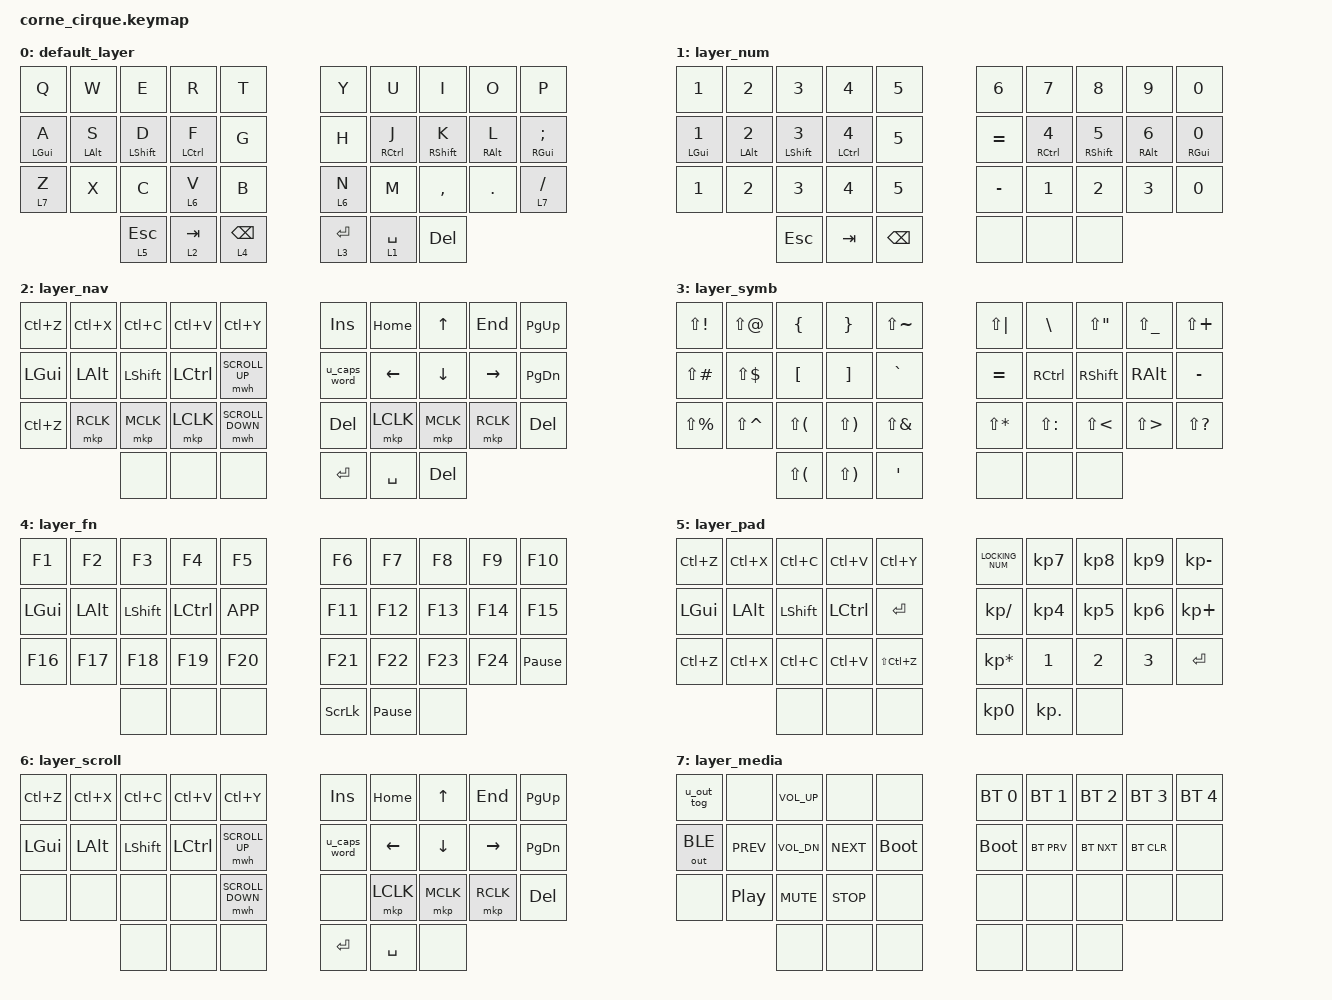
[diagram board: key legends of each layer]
#include <behaviors.dtsi>
#include <dt-bindings/zmk/keys.h>
#include <dt-bindings/zmk/bt.h>
#include <dt-bindings/zmk/outputs.h>
#include <dt-bindings/zmk/mouse.h>

/ {
    combos {
        compatible = "zmk,combos";

        combo_mb_lclick {
            timeout-ms = <50>;
            key-positions = <12 13>;
            bindings = <&mkp LCLK>;
        };

         combo_mb_rclick {
            timeout-ms = <50>;
            key-positions = <22 23>;
            bindings = <&mkp RCLK>;
        };

         combo_mb_mclick {
            timeout-ms = <50>;
            key-positions = <2 3>;
            bindings = <&mkp MCLK>;
        };
    };
    
    behaviors   {
        lkt: layer_key_tap {
            compatible = "zmk,behavior-hold-tap";
            label = "LAYER KEY TAP";
            #binding-cells = <2>;
            tapping-term-ms = <150>;
            flavor = "tap-preferred";
            bindings = <&mkp>, <&tog>;
        };
        u_mt: u_mt {
            compatible = "zmk,behavior-hold-tap";
            label = "U_MT";
            bindings =
                <&kp>,
                <&kp>;

            #binding-cells = <2>;
            tapping-term-ms = <200>;
            flavor = "tap-preferred";
        };
        u_lt: u_lt {
            compatible = "zmk,behavior-hold-tap";
            label = "U_LT";
            bindings =
                <&mo>,
                <&kp>;

            #binding-cells = <2>;
            tapping-term-ms = <200>;
            flavor = "tap-preferred";
        };
        u_out_tog: u_out_tog {
            compatible = "zmk,behavior-mod-morph";
            label = "U_OUT_TOG";
            bindings =
                <&out OUT_TOG>,
                <&out OUT_USB>;

            #binding-cells = <0>;
            mods = <(MOD_LSFT|MOD_RSFT)>;
        };
        u_caps_word: u_caps_word {
            compatible = "zmk,behavior-mod-morph";
            label = "U_CAPS_WORD";
            bindings =
                <&caps_word>,
                <&kp CAPS>;

            #binding-cells = <0>;
            mods = <(MOD_LSFT|MOD_RSFT)>;
        };
    };

    keymap {
        compatible = "zmk,keymap";

        // default_layer {
        //         // ROW A FROM SCHEMATIC FILE
        //         // ROW A FROM SCHEMATIC FILE
        //         // ROW A FROM SCHEMATIC FILE
        //     bindings = <
        //         /* &bt BT_NXT */
        //         /* &bt BT_CLR */
        //         /* &out    OUT_TOG */
        //         /* &mkp RCLK */
        //         &lkt RCLK SCROLL_LAYER
        //    >;
        // };

        // scroll_layer {  //called by trackpad code to switch to scroll mode
        //         // ROW A FROM SCHEMATIC FILE
        //         // ROW A FROM SCHEMATIC FILE
        //         // ROW A FROM SCHEMATIC FILE
        //     bindings = <
        //         &lkt RCLK SCROLL_LAYER
        //    >;
        // };

        default_layer {
            bindings = <
&kp Q         &kp W         &kp E          &kp R         &kp T          &kp Y          &kp U          &kp I          &kp O         &kp P
&u_mt LGUI A  &u_mt LALT S  &u_mt LSHFT D  &u_mt LCTRL F &kp G          &kp H          &u_mt RCTRL J  &u_mt RSHFT K  &u_mt RALT L  &u_mt RGUI SEMI
&u_lt 7 Z     &kp X         &kp C          &u_lt 6 V     &kp B          &u_lt 6 N      &kp M          &kp COMMA      &kp DOT       &u_lt 7 SLASH
                            &u_lt 5 ESC    &u_lt 2 TAB   &u_lt 4 BSPC   &u_lt 3 ENTER  &u_lt 1 SPACE  &kp DEL
            >;
        };

        layer_num {
            bindings = <
&kp NUMBER_1         &kp NUMBER_2         &kp NUMBER_3          &kp NUMBER_4           &kp NUMBER_5     &kp NUMBER_6   &kp NUMBER_7          &kp NUMBER_8          &kp NUMBER_9         &kp NUMBER_0
&u_mt LGUI NUMBER_1  &u_mt LALT NUMBER_2  &u_mt LSHFT NUMBER_3  &u_mt LCTRL NUMBER_4   &kp NUMBER_5     &kp EQUAL      &u_mt RCTRL NUMBER_4  &u_mt RSHFT NUMBER_5  &u_mt RALT NUMBER_6  &u_mt RGUI NUMBER_0
&kp NUMBER_1         &kp NUMBER_2         &kp NUMBER_3          &kp NUMBER_4           &kp NUMBER_5     &kp MINUS      &kp NUMBER_1          &kp NUMBER_2          &kp NUMBER_3         &kp NUMBER_0
                                          &kp ESC               &kp TAB                &kp BACKSPACE    &none          &none                 &none
            >;
        };

        layer_nav {
            bindings = <
&kp LC(Z)   &kp LC(X)   &kp LC(C)   &kp LC(V)   &kp LC(Y)           &kp INS         &kp HOME    &kp UP    &kp END    &kp PG_UP
&kp LGUI    &kp LALT    &kp LSHFT   &kp LCTRL   &mwh SCROLL_UP      &u_caps_word    &kp LEFT    &kp DOWN  &kp RIGHT  &kp PG_DN
&kp LC(Z)   &mkp RCLK   &mkp MCLK   &mkp LCLK   &mwh SCROLL_DOWN    &kp DEL         &mkp LCLK   &mkp MCLK &mkp RCLK  &kp DEL
                        &none       &none       &none               &kp RET         &kp SPACE   &kp DEL
            >;
        };
        layer_symb {
            bindings = <
&kp LS(EXCL)    &kp LS(AT)     &kp LEFT_BRACE   &kp RIGHT_BRACE  &kp LS(TILDE)  &kp LS(PIPE)  &kp BSLH      &kp LS(DQT)  &kp LS(UNDER)  &kp LS(PLUS)
&kp LS(POUND)   &kp LS(DLLR)   &kp LBKT         &kp RBKT         &kp GRAVE      &kp EQUAL     &kp RCTRL     &kp RSHFT    &kp RALT       &kp MINUS
&kp LS(PRCNT)   &kp LS(CARET)  &kp LS(LPAR)     &kp LS(RPAR)     &kp LS(AMPS)   &kp LS(STAR)  &kp LS(COLON) &kp LS(LT)   &kp LS(GT)     &kp LS(QMARK)
                               &kp LS(LPAR)     &kp LS(RPAR)     &kp SQT        &none         &none         &none
            >;
        };

        layer_fn {
            bindings = <
&kp F1    &kp F2    &kp F3     &kp F4     &kp F5    &kp F6    &kp F7          &kp F8   &kp F9   &kp F10
&kp LGUI  &kp LALT  &kp LSHFT  &kp LCTRL  &kp K_APP &kp F11   &kp F12         &kp F13  &kp F14  &kp F15
&kp F16   &kp F17   &kp F18    &kp F19    &kp F20   &kp F21   &kp F22         &kp F23  &kp F24  &kp PAUSE_BREAK
                    &none      &none      &none     &kp SLCK  &kp PAUSE_BREAK &none
            >;
        };

        layer_pad {
            bindings = <
&kp LC(Z)  &kp LC(X)  &kp LC(C)  &kp LC(V)  &kp LC(Y)      &kp LOCKING_NUM   &kp KP_N7  &kp KP_N8  &kp KP_N9  &kp KP_MINUS
&kp LGUI   &kp LALT   &kp LSHFT  &kp LCTRL  &kp RET        &kp KP_SLASH      &kp KP_N4  &kp KP_N5  &kp KP_N6  &kp KP_PLUS
&kp LC(Z)  &kp LC(X)  &kp LC(C)  &kp LC(V)  &kp LS(LC(Z))  &kp KP_ASTERISK   &kp N1     &kp N2     &kp N3     &kp RET
                      &none      &none      &none          &kp KP_N0         &kp KP_DOT &none
            >;
        };

        layer_scroll {
            bindings = <
&kp LC(Z)   &kp LC(X)   &kp LC(C)   &kp LC(V)   &kp LC(Y)           &kp INS         &kp HOME  &kp UP    &kp END    &kp PG_UP
&kp LGUI    &kp LALT    &kp LSHFT   &kp LCTRL   &mwh SCROLL_UP      &u_caps_word    &kp LEFT  &kp DOWN  &kp RIGHT  &kp PG_DN
&none       &none       &none       &none       &mwh SCROLL_DOWN    &none           &mkp LCLK &mkp MCLK &mkp RCLK  &kp DEL
                        &none       &none       &none               &kp RET         &kp SPACE &none
            >;
        };

        layer_media {
            bindings = <
&u_out_tog    &none       &kp C_VOL_UP  &none        &none         &bt BT_SEL 0  &bt BT_SEL 1  &bt BT_SEL 2  &bt BT_SEL 3  &bt BT_SEL 4
&out OUT_BLE  &kp C_PREV  &kp C_VOL_DN  &kp C_NEXT   &bootloader   &bootloader   &bt BT_PRV    &bt BT_NXT    &bt BT_CLR    &none
&none         &kp C_PP    &kp C_MUTE    &kp C_STOP   &none         &none         &none         &none         &none         &none
                          &none         &none        &none         &none         &none         &none
            >;
        };
    };
};
